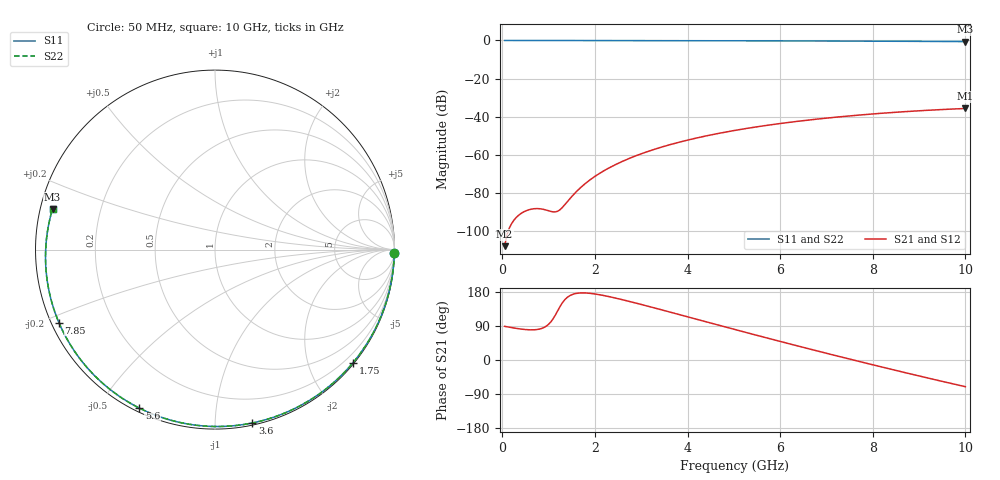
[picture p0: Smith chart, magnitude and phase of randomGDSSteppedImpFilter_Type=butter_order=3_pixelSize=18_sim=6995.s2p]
! freq	dB(S11)	phase(S11)	dB(S12)	phase(S12)
!  dB(S21)	phase(S21)	dB(S22)	phase(S22)
!S-par simulation data
#  GHz  S  DB  R 50
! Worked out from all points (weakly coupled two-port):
!   200 points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, 50 MHz to 10 GHz, reference 50 ohm
!   highest |S21| = -35.72 dB at 10 GHz (marker M1); lowest = -108.0 dB at 50 MHz (marker M2)
!   lowest |S11| = -0.6 dB at 10 GHz (marker M3), VSWR 28.91, Z = 1.76 + j6.14 ohm
!   |S11| at or under -10 dB: nowhere
!   |S22| runs from -0.6 to 0.0 dB; largest |S21 - S12| = 0
!   S11 on the Smith chart (normalised r, x): 50 MHz: open; 1.75 GHz: 0.03, -2.80; 3.6 GHz: 0.02, -1.24; 5.6 GHz: 0.02, -0.63; 7.85 GHz: 0.02, -0.22; 10 GHz: 0.04, +0.12
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0.05  -0.00 -1.1  -108.01 88.8  -108.01 88.8  -0.00 -1.1
0.45  -0.02 -10.2  -90.16 81.0  -90.16 81.0  -0.02 -10.2
0.8  -0.02 -18.2  -88.34 81.5  -88.34 81.5  -0.02 -18.2
1.55  -0.04 -34.9  -80.63 174.4  -80.63 174.4  -0.04 -34.9
1.6  -0.05 -36.0  -79.37 175.8  -79.37 175.8  -0.05 -36.0
1.75  -0.05 -39.3  -75.98 177.1  -75.98 177.1  -0.05 -39.3
2.05  -0.06 -45.8  -70.57 173.3  -70.57 173.3  -0.06 -45.8
2.25  -0.06 -50.1  -67.66 168.7  -67.66 168.7  -0.06 -50.1
2.45  -0.07 -54.3  -65.13 163.3  -65.13 163.3  -0.07 -54.3
2.9  -0.08 -63.7  -60.42 149.8  -60.42 149.8  -0.08 -63.7
3.4  -0.10 -73.8  -56.28 133.7  -56.28 133.7  -0.10 -73.8
3.6  -0.10 -77.8  -54.86 127.2  -54.86 127.2  -0.10 -77.8
4.3  -0.13 -91.4  -50.65 104.1  -50.65 104.1  -0.13 -91.4
5.05  -0.16 -105.5  -47.11 79.6  -47.11 79.6  -0.16 -105.5
5.6  -0.19 -115.5  -44.97 61.8  -44.97 61.8  -0.19 -115.5
6.15  -0.22 -125.3  -43.14 44.3  -43.14 44.3  -0.22 -125.3
6.7  -0.26 -134.9  -41.55 27.0  -41.55 27.0  -0.26 -134.9
7.3  -0.31 -145.4  -40.06 8.5  -40.06 8.5  -0.31 -145.4
7.85  -0.35 -154.9  -38.88 -8.2  -38.88 -8.2  -0.35 -155.0
8.35  -0.40 -163.7  -37.95 -23.1  -37.95 -23.1  -0.40 -163.7
9.2  -0.50 -179.0  -36.64 -47.9  -36.64 -47.9  -0.50 -179.0
10  -0.60 166.0  -35.72 -70.4  -35.72 -70.4  -0.60 166.0
